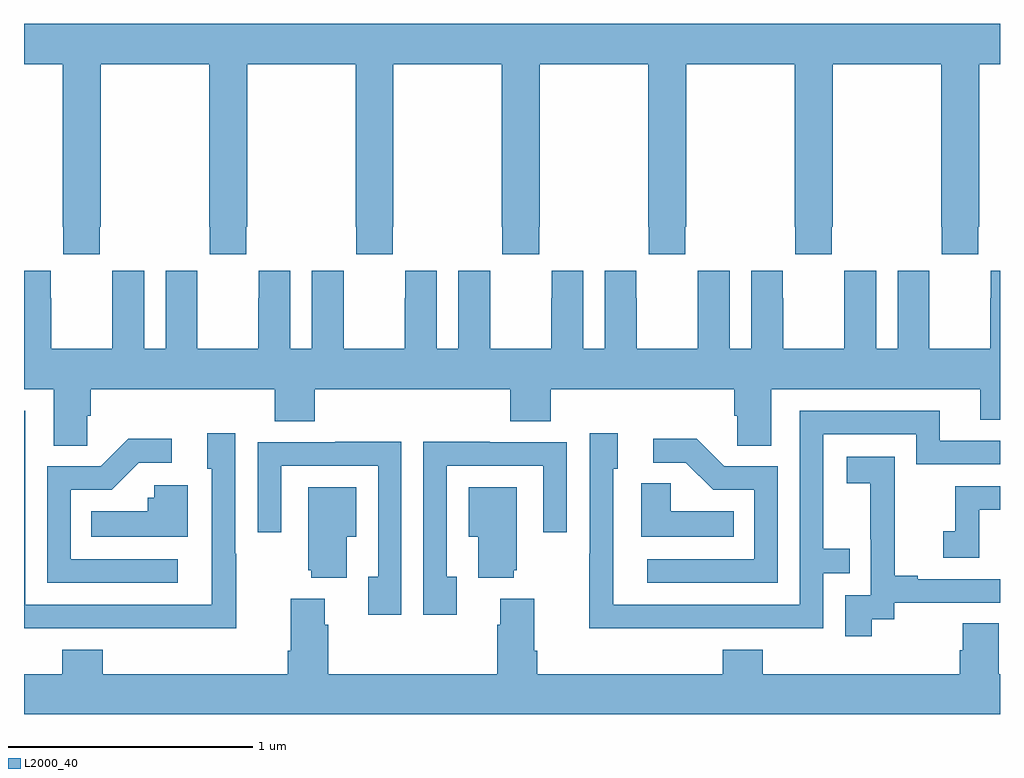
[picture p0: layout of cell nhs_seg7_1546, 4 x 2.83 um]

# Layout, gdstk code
import gdstk
lib = gdstk.Library(unit=1e-6, precision=1e-09)
def P(c, l, *ps):  # polygons
    for p in ps: c.add(gdstk.Polygon(p, *l))
L2000_40 = (2000, 40)

nhs_seg7_1546 = lib.new_cell('nhs_seg7_1546')
P(nhs_seg7_1546, L2000_40, [(217,1007.276),(217.159,1007.276),(217.159,1006.609),(217.161,1006.609),(217.161,1006.497),(217.311,1006.497),(217.311,1006.609),(217.314,1006.609),(217.314,1007.276),(217.759,1007.276),(217.759,1006.609),(217.761,1006.609),(217.761,1006.497),(217.911,1006.497),(217.911,1006.609),(217.914,1006.609),(217.914,1007.276),(218.359,1007.276),(218.359,1006.609),(218.361,1006.609),(218.361,1006.497),(218.511,1006.497),(218.511,1006.609),(218.514,1006.609),(218.514,1007.276),(218.959,1007.276),(218.959,1006.609),(218.961,1006.609),(218.961,1006.497),(219.111,1006.497),(219.111,1006.609),(219.114,1006.609),(219.114,1007.276),(219.559,1007.276),(219.559,1006.609),(219.561,1006.609),(219.561,1006.497),(219.711,1006.497),(219.711,1006.609),(219.714,1006.609),(219.714,1007.276),(220.159,1007.276),(220.159,1006.609),(220.161,1006.609),(220.161,1006.497),(220.311,1006.497),(220.311,1006.609),(220.314,1006.609),(220.314,1007.276),(220.759,1007.276),(220.759,1006.609),(220.761,1006.609),(220.761,1006.497),(220.911,1006.497),(220.911,1006.609),(220.914,1006.609),(220.914,1007.276),(221,1007.276),(221,1007.44),(217,1007.44)],
  [(220.919,1005.817),(221,1005.817),(221,1006.429),(220.962,1006.429),(220.962,1006.316),(220.961,1006.316),(220.961,1006.108),(220.711,1006.108),(220.711,1006.316),(220.71,1006.316),(220.71,1006.429),(220.58,1006.429),(220.58,1006.108),(220.492,1006.108),(220.492,1006.429),(220.362,1006.429),(220.362,1006.316),(220.361,1006.316),(220.361,1006.108),(220.111,1006.108),(220.111,1006.316),(220.11,1006.316),(220.11,1006.429),(219.98,1006.429),(219.98,1006.108),(219.892,1006.108),(219.892,1006.429),(219.762,1006.429),(219.762,1006.316),(219.761,1006.316),(219.761,1006.108),(219.511,1006.108),(219.511,1006.316),(219.51,1006.316),(219.51,1006.429),(219.38,1006.429),(219.38,1006.108),(219.292,1006.108),(219.292,1006.429),(219.162,1006.429),(219.162,1006.316),(219.161,1006.316),(219.161,1006.108),(218.911,1006.108),(218.911,1006.316),(218.91,1006.316),(218.91,1006.429),(218.78,1006.429),(218.78,1006.108),(218.692,1006.108),(218.692,1006.429),(218.562,1006.429),(218.562,1006.316),(218.561,1006.316),(218.561,1006.108),(218.311,1006.108),(218.311,1006.316),(218.31,1006.316),(218.31,1006.429),(218.18,1006.429),(218.18,1006.108),(218.092,1006.108),(218.092,1006.429),(217.962,1006.429),(217.962,1006.316),(217.961,1006.316),(217.961,1006.108),(217.711,1006.108),(217.711,1006.316),(217.71,1006.316),(217.71,1006.429),(217.58,1006.429),(217.58,1006.108),(217.492,1006.108),(217.492,1006.429),(217.362,1006.429),(217.362,1006.316),(217.361,1006.316),(217.361,1006.108),(217.111,1006.108),(217.111,1006.316),(217.11,1006.316),(217.11,1006.429),(217,1006.429),(217,1005.944),(217.121,1005.944),(217.121,1005.712),(217.26,1005.712),(217.26,1005.835),(217.274,1005.835),(217.274,1005.944),(218.027,1005.944),(218.027,1005.811),(218.192,1005.811),(218.192,1005.944),(218.993,1005.944),(218.993,1005.811),(219.158,1005.811),(219.158,1005.944),(219.911,1005.944),(219.911,1005.835),(219.924,1005.835),(219.924,1005.712),(220.063,1005.712),(220.063,1005.944),(220.919,1005.944)],
  [(219.779,1004.964),(220.275,1004.964),(220.275,1005.189),(220.385,1005.189),(220.385,1005.29),(220.275,1005.29),(220.275,1005.759),(220.656,1005.759),(220.656,1005.636),(221,1005.636),(221,1005.732),(220.753,1005.732),(220.753,1005.855),(220.179,1005.855),(220.179,1005.06),(219.414,1005.06),(219.414,1005.618),(219.433,1005.618),(219.433,1005.763),(219.318,1005.763),(219.318,1005.269),(219.316,1005.269),(219.316,1004.963),(219.779,1004.963)],
  [(217.869,1005.269),(217.866,1005.269),(217.866,1005.763),(217.751,1005.763),(217.751,1005.618),(217.77,1005.618),(217.77,1005.284),(217.769,1005.284),(217.769,1005.06),(217.005,1005.06),(217.005,1005.855),(217,1005.855),(217,1004.964),(217.405,1004.964),(217.405,1004.963),(217.869,1004.963)],
  [(220.089,1005.627),(219.87,1005.627),(219.757,1005.74),(219.579,1005.74),(219.579,1005.642),(219.713,1005.642),(219.824,1005.531),(219.993,1005.531),(219.993,1005.246),(219.555,1005.246),(219.555,1005.15),(220.089,1005.15)],
  [(217.63,1005.246),(217.191,1005.246),(217.191,1005.531),(217.36,1005.531),(217.471,1005.642),(217.606,1005.642),(217.606,1005.74),(217.427,1005.74),(217.314,1005.627),(217.095,1005.627),(217.095,1005.15),(217.63,1005.15)],
  [(218.547,1005.728),(218.275,1005.728),(218.275,1005.726),(217.959,1005.726),(217.959,1005.357),(218.055,1005.357),(218.055,1005.63),(218.451,1005.63),(218.451,1005.174),(218.411,1005.174),(218.411,1005.018),(218.547,1005.018)],
  [(218.773,1005.174),(218.733,1005.174),(218.733,1005.63),(219.129,1005.63),(219.129,1005.357),(219.225,1005.357),(219.225,1005.726),(218.909,1005.726),(218.909,1005.728),(218.637,1005.728),(218.637,1005.018),(218.773,1005.018)],
  [(220.474,1005.001),(220.566,1005.001),(220.566,1005.069),(221,1005.069),(221,1005.165),(220.663,1005.165),(220.663,1005.178),(220.568,1005.178),(220.568,1005.461),(220.569,1005.461),(220.569,1005.667),(220.371,1005.667),(220.371,1005.557),(220.469,1005.557),(220.469,1005.329),(220.47,1005.329),(220.47,1005.099),(220.365,1005.099),(220.365,1004.931),(220.474,1004.931)],
  [(219.908,1005.442),(219.651,1005.442),(219.651,1005.557),(219.53,1005.557),(219.53,1005.338),(219.908,1005.338)],
  [(217.672,1005.55),(217.533,1005.55),(217.533,1005.498),(217.507,1005.498),(217.507,1005.442),(217.276,1005.442),(217.276,1005.338),(217.672,1005.338)],
  [(220.914,1005.45),(221,1005.45),(221,1005.546),(220.816,1005.546),(220.816,1005.361),(220.767,1005.361),(220.767,1005.252),(220.914,1005.252)],
  [(218.323,1005.338),(218.362,1005.338),(218.362,1005.541),(218.165,1005.541),(218.165,1005.201),(218.177,1005.201),(218.177,1005.17),(218.323,1005.17)],
  [(219.008,1005.201),(219.019,1005.201),(219.019,1005.541),(218.822,1005.541),(218.822,1005.338),(218.861,1005.338),(218.861,1005.17),(219.008,1005.17)],
  [(217.157,1004.875),(217.157,1004.776),(217,1004.776),(217,1004.612),(221,1004.612),(221,1004.776),(220.995,1004.776),(220.995,1004.984),(220.847,1004.984),(220.847,1004.874),(220.835,1004.874),(220.835,1004.776),(220.028,1004.776),(220.028,1004.875),(219.863,1004.875),(219.863,1004.776),(219.104,1004.776),(219.104,1004.872),(219.091,1004.872),(219.091,1005.085),(218.951,1005.085),(218.951,1004.978),(218.939,1004.978),(218.939,1004.776),(218.246,1004.776),(218.246,1004.978),(218.233,1004.978),(218.233,1005.085),(218.093,1005.085),(218.093,1004.872),(218.081,1004.872),(218.081,1004.776),(217.322,1004.776),(217.322,1004.875)])

lib.write_gds('nhs_seg7_1546.gds')
